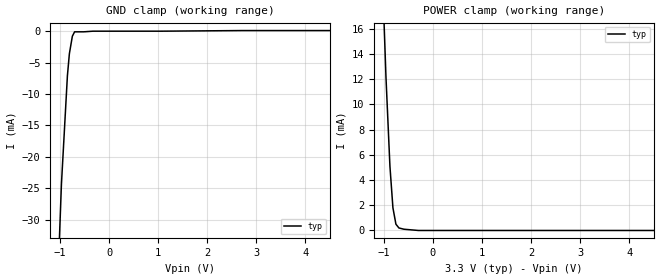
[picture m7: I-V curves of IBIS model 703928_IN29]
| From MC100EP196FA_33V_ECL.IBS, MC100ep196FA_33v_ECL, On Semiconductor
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| (C) COPYRIGHT 1993-2001
| MENTOR GRAPHICS CORPORATION
| ICX STANDARD LIBRARY, ICX PROJECT MODELING,
| ICX CUSTOM MODELING, ICX VENDOR MODEL
| ALL RIGHTS RESERVED.
| THE FOLLOWING ARE TRADEMARKS OR SERVICE MARKS OF
| MENTOR GRAPHICS CORPORATION:ICX (R), ICX STANDARD
| LIBRARY(R), ICX PROJECT MODELING(R), ICX CUSTOM
| MODELING(R), qualityIBIS(TM), MODELVIEWER(TM),
| AND MODELEDITOR(TM)
| ALL COPIES OF SOFTWARE, INCLUDING BUT NOT LIMITED TO
| ANY MODIFICATIONS, ENHANCEMENTS OR DERIVATIVE WORKS,
| MUST CONTAIN ALL MENTOR GRAPHICS CORPORATION'S
| NOTICES AND LEGENDS, INCLUDING THOSE EMBEDDED IN
| SOFTWARE AND THOSE AFFIXED TO SOFTWARE MEDIUM
| AND CONTAINER, AS RECEIVED FROM MENTOR GRAPHICS
| CORPORATION.
| Model Application Version 1.89 2/18/99.
[Model] 703928_IN29
Model_type Input_ECL
Vinl = 1.755V
Vinh = 2.155V
C_comp 4.000pF NA NA
| variable typ   min   max
[Voltage Range] 3.300V NA NA
[GND Clamp Reference] 0.000V NA NA
[POWER Clamp Reference] 3.300V NA NA
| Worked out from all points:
|   GND clamp passes 1 mA (typ) near -0.75 V on its own axis
|   POWER clamp passes 1 mA (typ) near -0.78 V on its own axis
[GND Clamp]
-3.3V     -614.7mA   NA         NA
-1.115V   -54.4mA    NA         NA
-973mV    -24.4mA    NA         NA
-851mV    -7.1mA     NA         NA
-811mV    -3.6mA     NA         NA
-750mV    -800uA     NA         NA
-704.3mV  -100uA     NA         NA
-516.8mV  -100uA     NA         NA
-329.3mV  0A         NA         NA
1.044V    0A         NA         NA
2.716V    100uA      NA         NA
6.6V      100uA      NA         NA
[POWER Clamp]
-3.3V     392.9mA    NA         NA
-1.484V   86.5mA     NA         NA
-1.18V    39.8mA     NA         NA
-1.058V   23.4mA     NA         NA
-957mV    12.2mA     NA         NA
-876mV    5.1mA      NA         NA
-815mV    1.8mA      NA         NA
-754mV    500uA      NA         NA
-693mV    200uA      NA         NA
-592mV    100uA      NA         NA
-296mV    0A         NA         NA
6.6V      0A         NA         NA
